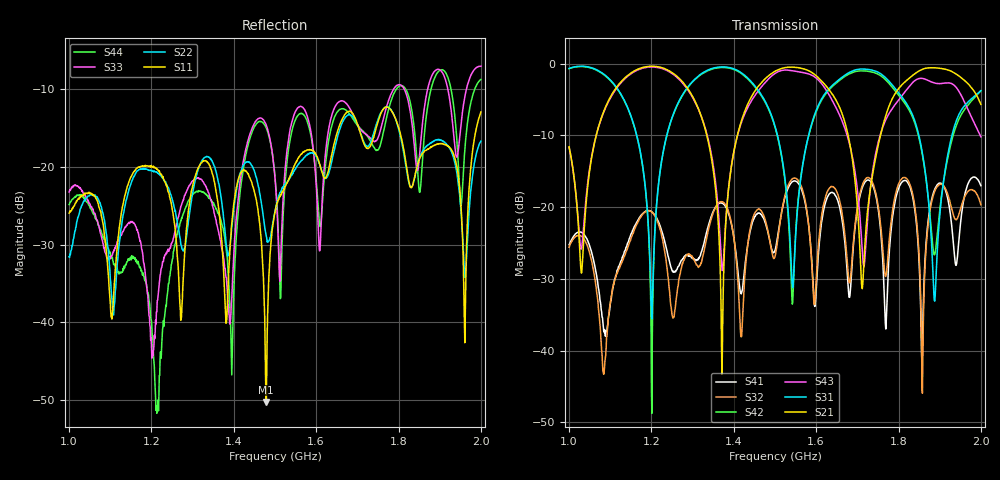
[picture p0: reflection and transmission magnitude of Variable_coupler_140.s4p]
#  HZ  S  DB  R  50.00
! Rohde & Schwarz Vector Network Analyzer
! Rohde-Schwarz,ZNB8-4Port,1311601044102961,2.82
! Created: UTC 1/17/2019, 3:18:42 PM
! freq[Hz]  db:S11  ang:S11  db:S12  ang:S12  db:S13  ang:S13  db:S14  ang:S14
!  db:S21  ang:S21  db:S22  ang:S22  db:S23  ang:S23  db:S24  ang:S24
!  db:S31  ang:S31  db:S32  ang:S32  db:S33  ang:S33  db:S34  ang:S34
!  db:S41  ang:S41  db:S42  ang:S42  db:S43  ang:S43  db:S44  ang:S44
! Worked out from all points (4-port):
!   1001 points, 1 GHz to 2 GHz, reference 50 ohm
!   strongest paths, dB at 1 GHz, 1.25 GHz, 1.5 GHz, 1.75 GHz, 2 GHz:
!     S21: -11.6, -1.3, -1.1, -11.6, -5.7
!     S31: -0.7, -7.5, -8.7, -1.2, -3.8
!     S43: -11.7, -1.4, -1.4, -11.1, -10.2
!     S42: -0.7, -7.6, -8.8, -1.5, -3.8
!     S32: -25.6, -35.0, -26.9, -19.6, -19.7
!     S41: -25.2, -28.9, -26.1, -20.0, -17.0
!   lowest |S11| = -50.3 dB at 1.478 GHz (marker M1), VSWR 1.01, Z = 50.3 + j0.0625 ohm
!   |S11| at or under -10 dB: start of sweep to end of sweep
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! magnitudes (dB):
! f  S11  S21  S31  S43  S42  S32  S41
! 1 GHz  -25.9  -11.6  -0.7  -11.7  -0.7  -25.6  -25.2
! 1.201 GHz  -20.0  -0.4  -35.6  -0.5  -48.7  -20.7  -20.7
! 1.371 GHz  -29.7  -43.3  -0.5  -28.5  -0.6  -19.2  -19.4
! 1.478 GHz  -50.3  -2.0  -5.5  -2.5  -5.6  -22.1  -22.5
! 1.712 GHz  -16.4  -31.3  -0.8  -26.2  -1.0  -17.0  -17.3
! 1.888 GHz  -17.2  -0.6  -33.1  -2.7  -26.6  -17.8  -17.5
! 2 GHz  -12.9  -5.7  -3.8  -10.2  -3.8  -19.7  -17.0
